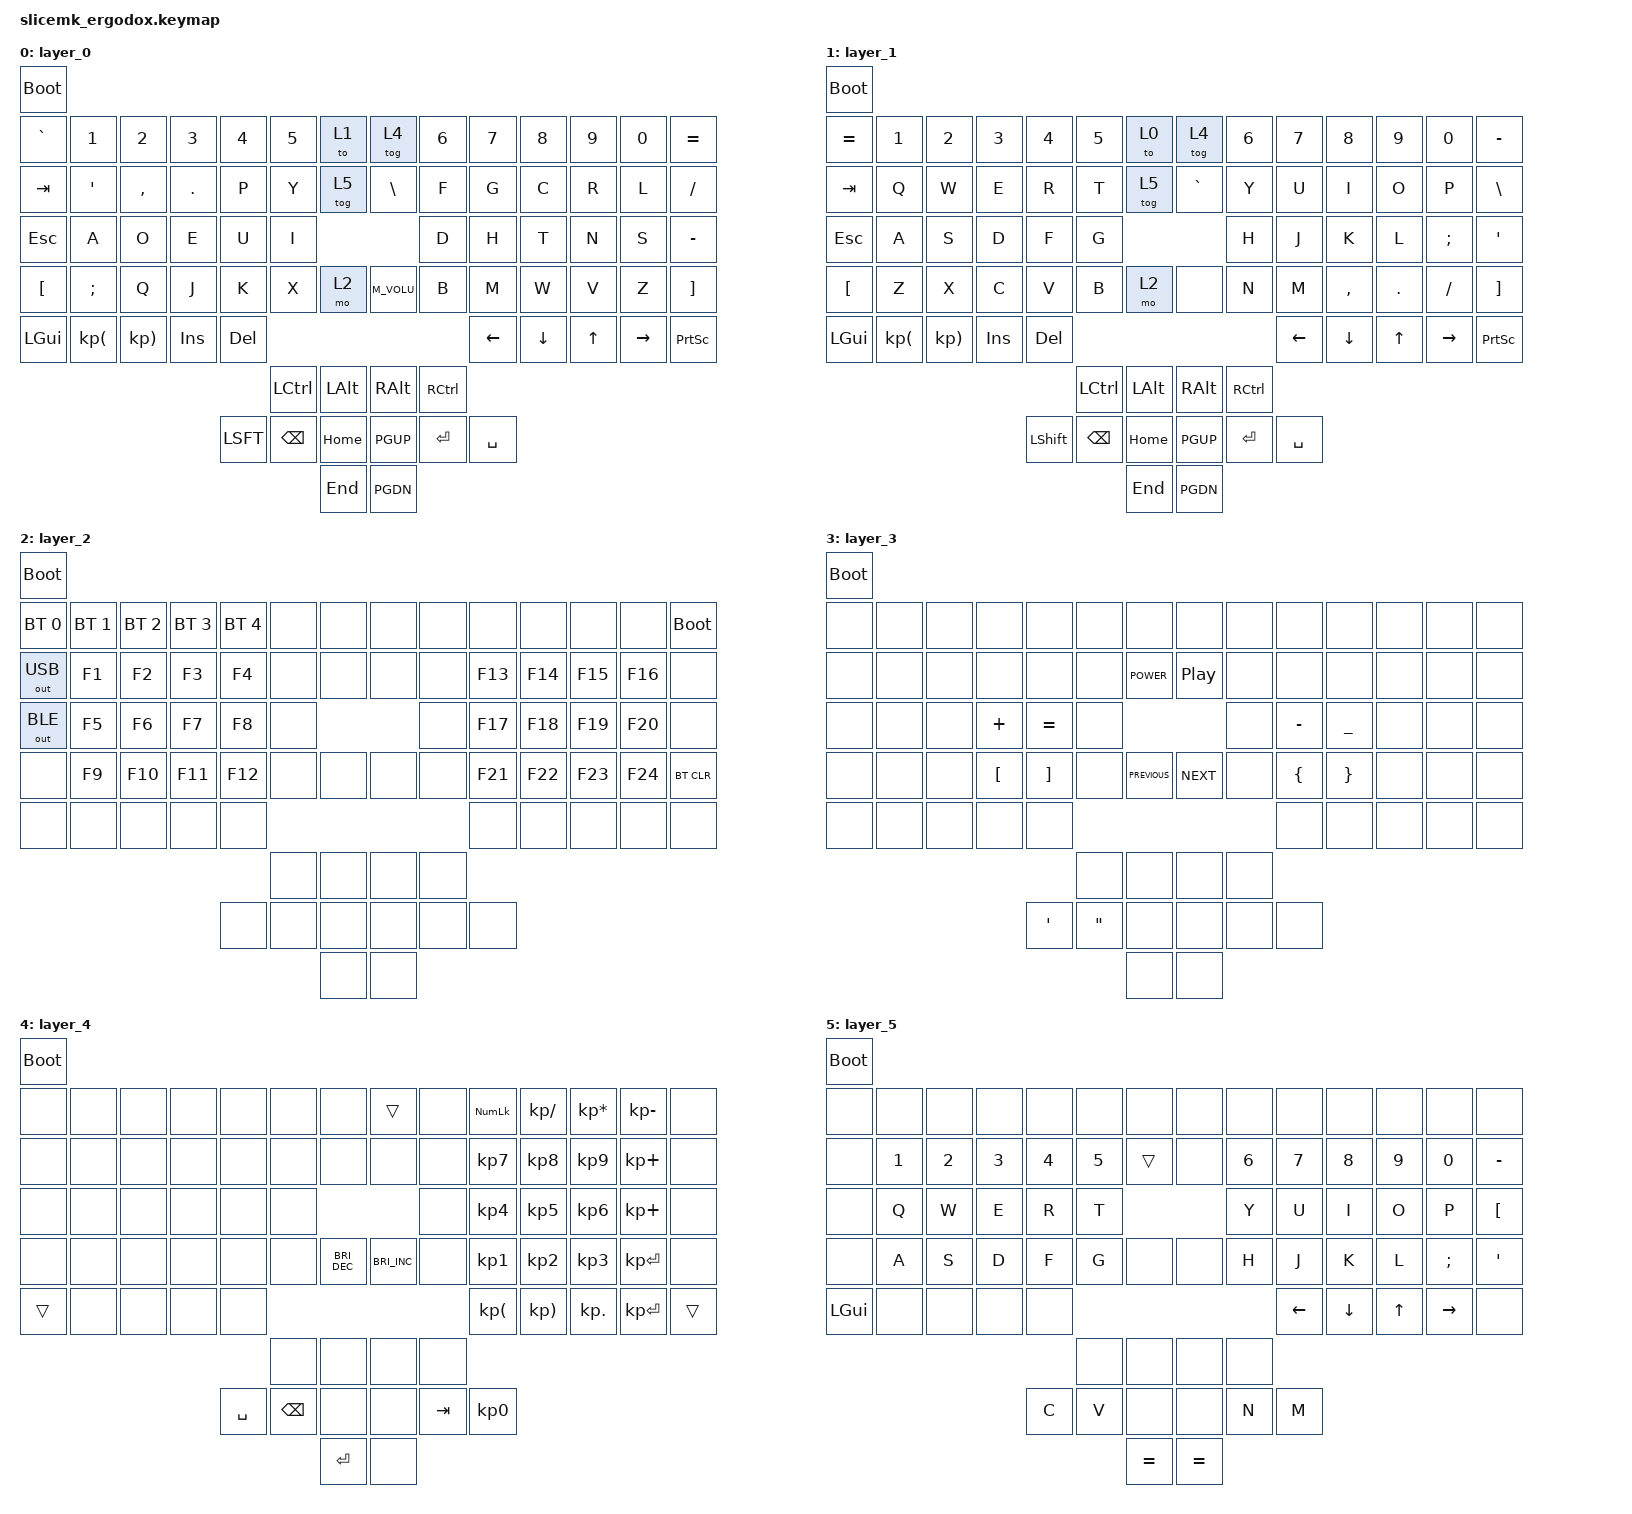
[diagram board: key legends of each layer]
#include <behaviors.dtsi>
#include <dt-bindings/zmk/bt.h>
#include <dt-bindings/zmk/keys.h>
#include <dt-bindings/zmk/outputs.h>



/ {
	keymap {
		compatible = "zmk,keymap";
		layer_0 {
			bindings = <
				&bootloader
				&kp GRAV &kp NUMBER_1  &kp NUMBER_2 &kp NUMBER_3 &kp NUMBER_4 &kp NUMBER_5 &to 1    &tog 4     &kp NUMBER_6 &kp NUMBER_7 &kp NUMBER_8 &kp NUMBER_9 &kp NUMBER_0 &kp EQUAL
				&kp TAB  &kp APOS      &kp COMMA    &kp DOT      &kp P        &kp Y        &tog 5   &kp BSLH   &kp F        &kp G        &kp C        &kp R        &kp L        &kp SLASH
				&kp ESC  &kp A         &kp O        &kp E        &kp U        &kp I                            &kp D        &kp H        &kp T        &kp N        &kp S        &kp MINUS
				&kp LBKT &kp SEMICOLON &kp Q        &kp J        &kp K        &kp X        &mo 2    &kp M_VOLU &kp B        &kp M        &kp W        &kp V        &kp Z        &kp RBKT
				&kp LGUI &kp KP_LPAR   &kp KP_RPAR  &kp INS      &kp DEL                                                    &kp LEFT     &kp DOWN     &kp UP       &kp RIGHT    &kp PSCRN
				                                                              &kp LCTRL    &kp LALT &kp RALT   &kp RCTRL
				                                                 &kp LSFT     &kp BKSP     &kp HOME &kp PGUP   &kp RETURN   &kp SPC
				                                                                           &kp END  &kp PGDN
			>;
		};
		layer_1 {
			bindings = <
				&bootloader
				&kp EQUAL &kp N1      &kp N2      &kp N3  &kp N4     &kp N5    &to 0    &tog 4   &kp N6    &kp N7    &kp N8    &kp N9     &kp N0    &kp MINUS
				&kp TAB   &kp Q       &kp W       &kp E   &kp R      &kp T     &tog 5   &kp GRAV &kp Y     &kp U     &kp I     &kp O      &kp P     &kp BSLH
				&kp ESC   &kp A       &kp S       &kp D   &kp F      &kp G                       &kp H     &kp J     &kp K     &kp L      &kp SEMI  &kp APOS
				&kp LBKT  &kp Z       &kp X       &kp C   &kp V      &kp B     &mo 2    &none    &kp N     &kp M     &kp COMMA &kp PERIOD &kp SLASH &kp RBKT
				&kp LGUI  &kp KP_LPAR &kp KP_RPAR &kp INS &kp DEL                                          &kp LEFT  &kp DOWN  &kp UP     &kp RIGHT &kp PSCRN
				                                                     &kp LCTRL &kp LALT &kp RALT &kp RCTRL
				                                          &kp LSHIFT &kp BKSP  &kp HOME &kp PGUP &kp ENTER &kp SPACE
				                                                               &kp END  &kp PGDN
			>;
		};
		layer_2 {
			bindings = <
				&bootloader
				&bt BT_SEL 0 &bt BT_SEL 1 &bt BT_SEL 2 &bt BT_SEL 3 &bt BT_SEL 4 &none &none &none &none &none   &none   &none   &none   &bootloader
				&out OUT_USB &kp F1       &kp F2       &kp F3       &kp F4       &none &none &none &none &kp F13 &kp F14 &kp F15 &kp F16 &none
				&out OUT_BLE &kp F5       &kp F6       &kp F7       &kp F8       &none             &none &kp F17 &kp F18 &kp F19 &kp F20 &none
				&none        &kp F9       &kp F10      &kp F11      &kp F12      &none &none &none &none &kp F21 &kp F22 &kp F23 &kp F24 &bt BT_CLR
				&none        &none        &none        &none        &none                                &none   &none   &none   &none   &none
				                                                                 &none &none &none &none
				                                                    &none        &none &none &none &none &none
				                                                                       &none &none
			>;
		};
		layer_3 {
			bindings = <
				&bootloader
				&none &none &none &none    &none            &none             &none          &none            &none &none          &none           &none &none &none
				&none &none &none &none    &none            &none             &kp C_POWER    &kp C_PLAY_PAUSE &none &none          &none           &none &none &none
				&none &none &none &kp PLUS &kp EQUAL        &none                                             &none &kp MINUS      &kp UNDERSCORE  &none &none &none
				&none &none &none &kp LBKT &kp RBKT         &none             &kp C_PREVIOUS &kp C_NEXT       &none &kp LEFT_BRACE &kp RIGHT_BRACE &none &none &none
				&none &none &none &none    &none                                                                    &none          &none           &none &none &none
				                                            &none             &none          &none            &none
				                           &kp SINGLE_QUOTE &kp DOUBLE_QUOTES &none          &none            &none &none
				                                                              &none          &none
			>;
		};
		layer_4 {
			bindings = <
				&bootloader
				&none  &none &none &none &none     &none    &none                &trans               &none   &kp KP_NUM  &kp KP_DIVIDE &kp KP_MULTIPLY &kp KP_MINUS &none
				&none  &none &none &none &none     &none    &none                &none                &none   &kp KP_N7   &kp KP_N8     &kp KP_N9       &kp KP_PLUS  &none
				&none  &none &none &none &none     &none                                              &none   &kp KP_N4   &kp KP_N5     &kp KP_N6       &kp KP_PLUS  &none
				&none  &none &none &none &none     &none    &kp C_BRIGHTNESS_DEC &kp C_BRIGHTNESS_INC &none   &kp KP_N1   &kp KP_N2     &kp KP_N3       &kp KP_ENTER &none
				&trans &none &none &none &none                                                                &kp KP_LPAR &kp KP_RPAR   &kp KP_DOT      &kp KP_ENTER &trans
				                                   &none    &none                &none                &none
				                         &kp SPACE &kp BKSP &none                &none                &kp TAB &kp KP_N0
				                                            &kp RET              &none
			>;
		};
		layer_5 {
			bindings = <
				&bootloader
				&none    &none  &none  &none  &none  &none  &none     &none     &none  &none    &none    &none  &none     &none
				&none    &kp N1 &kp N2 &kp N3 &kp N4 &kp N5 &trans    &none     &kp N6 &kp N7   &kp N8   &kp N9 &kp N0    &kp MINUS
				&none    &kp Q  &kp W  &kp E  &kp R  &kp T                      &kp Y  &kp U    &kp I    &kp O  &kp P     &kp LBKT
				&none    &kp A  &kp S  &kp D  &kp F  &kp G  &none     &none     &kp H  &kp J    &kp K    &kp L  &kp SEMI  &kp APOS
				&kp LGUI &none  &none  &none  &none                                    &kp LEFT &kp DOWN &kp UP &kp RIGHT &none
				                                     &none  &none     &none     &none
				                              &kp C  &kp V  &none     &none     &kp N  &kp M
				                                            &kp EQUAL &kp EQUAL
			>;
		};
	};

};
